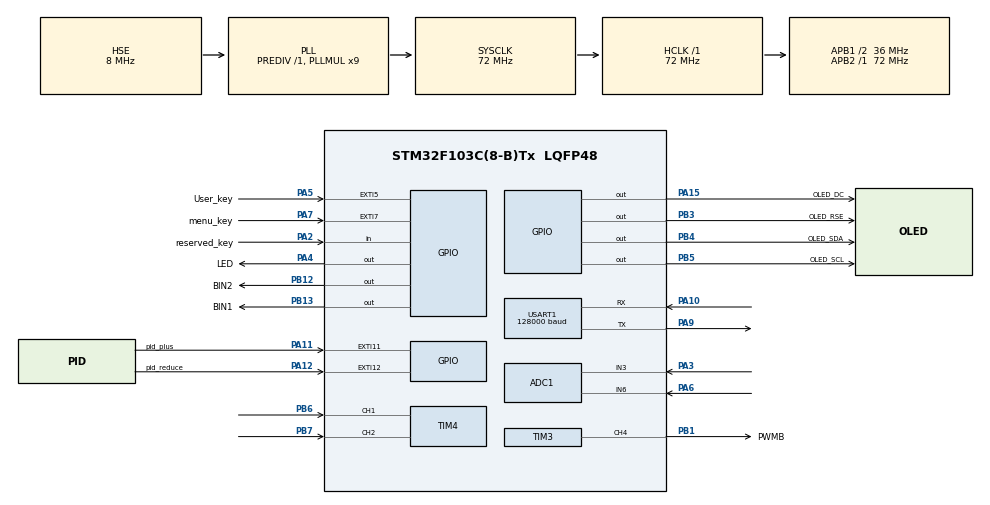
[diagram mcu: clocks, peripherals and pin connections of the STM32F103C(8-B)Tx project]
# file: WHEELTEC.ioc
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ADC1.Channel-2\#ChannelRegularConversion=ADC_CHANNEL_3
ADC1.ContinuousConvMode=DISABLE
ADC1.EnableRegularConversion=ENABLE
ADC1.NbrOfConversion=1
ADC1.NbrOfConversionFlag=1
ADC1.Rank-2\#ChannelRegularConversion=1
ADC1.SamplingTime-2\#ChannelRegularConversion=ADC_SAMPLETIME_1CYCLE_5
ADC1.master=1
Mcu.Family=STM32F1
Mcu.Name=STM32F103C(8-B)Tx
Mcu.Package=LQFP48
NVIC.EXTI15_10_IRQn=true\:2\:2\:true\:false\:true\:true\:true\:true
NVIC.EXTI9_5_IRQn=true\:2\:2\:true\:false\:true\:true\:true\:true
NVIC.PriorityGroup=NVIC_PRIORITYGROUP_2
NVIC.TIM1_UP_IRQn=true\:1\:3\:true\:false\:true\:true\:true\:true
PA10.Mode=Asynchronous
PA10.Signal=USART1_RX
PA11.GPIO_Label=pid_plus
PA11.GPIO_ModeDefaultEXTI=GPIO_MODE_IT_FALLING
PA11.GPIO_PuPd=GPIO_PULLUP
PA11.Signal=GPXTI11
PA12.GPIO_Label=pid_reduce
PA12.GPIO_ModeDefaultEXTI=GPIO_MODE_IT_FALLING
PA12.GPIO_PuPd=GPIO_PULLUP
PA12.Signal=GPXTI12
PA13.Mode=Serial_Wire
PA13.Signal=SYS_JTMS-SWDIO
PA14.Mode=Serial_Wire
PA14.Signal=SYS_JTCK-SWCLK
PA15.GPIO_Label=OLED_DC
PA15.GPIO_Speed=GPIO_SPEED_FREQ_HIGH
PA15.Signal=GPIO_Output
PA2.GPIO_Label=reserved_key
PA2.GPIO_Mode=GPIO_MODE_INPUT
PA2.GPIO_PuPd=GPIO_PULLUP
PA2.Signal=GPIO_Input
PA3.Signal=ADCx_IN3
PA4.GPIO_Label=LED
PA4.GPIO_ModeDefaultOutputPP=GPIO_MODE_OUTPUT_PP
PA4.GPIO_PuPd=GPIO_PULLUP
PA4.GPIO_Speed=GPIO_SPEED_FREQ_HIGH
PA4.PinState=GPIO_PIN_SET
PA4.Signal=GPIO_Output
PA5.GPIO_Label=User_key
PA5.GPIO_ModeDefaultEXTI=GPIO_MODE_IT_FALLING
PA5.GPIO_PuPd=GPIO_PULLUP
PA5.Signal=GPXTI5
PA6.Signal=ADCx_IN6
PA7.GPIO_Label=menu_key
PA7.GPIO_ModeDefaultEXTI=GPIO_MODE_IT_FALLING
PA7.GPIO_PuPd=GPIO_PULLUP
PA7.Signal=GPXTI7
PA9.Mode=Asynchronous
PA9.Signal=USART1_TX
PB1.GPIO_Label=PWMB
PB1.GPIO_Speed=GPIO_SPEED_FREQ_HIGH
PB1.Signal=S_TIM3_CH4
PB12.GPIO_Label=BIN2
PB12.GPIO_Speed=GPIO_SPEED_FREQ_HIGH
PB12.Signal=GPIO_Output
PB13.GPIO_Label=BIN1
PB13.GPIO_Speed=GPIO_SPEED_FREQ_HIGH
PB13.Signal=GPIO_Output
PB3.GPIO_Label=OLED_RSE
PB3.GPIO_Speed=GPIO_SPEED_FREQ_HIGH
PB3.Signal=GPIO_Output
PB4.GPIO_Label=OLED_SDA
PB4.GPIO_Speed=GPIO_SPEED_FREQ_HIGH
PB4.Signal=GPIO_Output
PB5.GPIO_Label=OLED_SCL
PB5.Signal=GPIO_Output
PB6.Signal=S_TIM4_CH1
PB7.Signal=S_TIM4_CH2
PD0-OSC_IN.Mode=HSE-External-Oscillator
PD0-OSC_IN.Signal=RCC_OSC_IN
PD1-OSC_OUT.Mode=HSE-External-Oscillator
PD1-OSC_OUT.Signal=RCC_OSC_OUT
ProjectManager.HeapSize=0x200
ProjectManager.StackSize=0x400
ProjectManager.TargetToolchain=MDK-ARM V5.32
RCC.ADCPresc=RCC_ADCPCLK2_DIV6
RCC.AHBFreq_Value=72000000
RCC.APB1CLKDivider=RCC_HCLK_DIV2
RCC.APB1Freq_Value=36000000
RCC.APB1TimFreq_Value=72000000
RCC.APB2Freq_Value=72000000
RCC.APB2TimFreq_Value=72000000
RCC.HCLKFreq_Value=72000000
RCC.PLLMUL=RCC_PLL_MUL9
RCC.PLLSourceVirtual=RCC_PLLSOURCE_HSE
RCC.SYSCLKFreq_VALUE=72000000
RCC.SYSCLKSource=RCC_SYSCLKSOURCE_PLLCLK
RCC.TimSys_Div=SYSTICK_CLKSOURCE_HCLK_DIV8
RCC.USBFreq_Value=72000000
SH.ADCx_IN3.0=ADC1_IN3,IN3
SH.ADCx_IN6.0=ADC1_IN6,IN6
SH.S_TIM3_CH4.0=TIM3_CH4,PWM Generation4 CH4
SH.S_TIM4_CH1.0=TIM4_CH1,Encoder_Interface
SH.S_TIM4_CH2.0=TIM4_CH2,Encoder_Interface
TIM1.Period=49
TIM1.Prescaler=7199
TIM3.Channel-PWM\ Generation4\ CH4=TIM_CHANNEL_4
TIM3.Period=7199
TIM4.EncoderMode=TIM_ENCODERMODE_TI12
TIM4.IC1Filter=10
TIM4.IC2Filter=10
USART1.BaudRate=128000
USART1.VirtualMode=VM_ASYNC
VP_TIM1_VS_ClockSourceINT.Mode=Internal
VP_TIM3_VS_ClockSourceINT.Mode=Internal
board=custom

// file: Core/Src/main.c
/* USER CODE BEGIN Header */
/**
  ******************************************************************************
  * @file           : main.c
  * @brief          : Main program body
  ******************************************************************************
  * @attention
  *
  * <h2><center>&copy; Copyright (c) 2021 STMicroelectronics.
  * All rights reserved.</center></h2>
  *
  * This software component is licensed by ST under BSD 3-Clause license,
  * the "License"; You may not use this file except in compliance with the
  * License. You may obtain a copy of the License at:
  *                        opensource.org/licenses/BSD-3-Clause
  *
  ******************************************************************************
  */
/* USER CODE END Header */
#include "main.h"
#include "adc.h"
#include "tim.h"
#include "usart.h"
#include "gpio.h"

#include <stdint.h> // uint8_t ....
#include <stdio.h>  // sprintf()
#include <string.h> // tratamento de string

/* USER CODE BEGIN PV */
u8 Flag_Stop=1;                             //Sinalizador de parada do motor
volatile u8 delay_50,delay_flag;            // 50ms Demonstracao precisa da posicao da marca
u8 system_start=0;                          //Detectar bit de sinalizador de funcao de ajuste
u8 tips_flag = 0;                           //OLED Bit de sinalizador de funcao de dica
int Encoder,Position_Zero=10000;            //Contagem de pulsos do codificador
int Moto;                                   //Variavel Motor PWM deve ser atribuida do Motor a Moto
int Voltage;                                //Variaveis  relacionadas a amostragem de tensao da bateria
float Angle_Balance;                        //Dados do sensor de deslocamento angular
float Balance_KP=50,Balance_KD=244,Position_KP=25,Position_KD=600;  //Coeficiente PID
float Position_KP_1=90,Position_KD_1=180;  //Coeficiente PID
float Menu=1,Amplitude1=1,Amplitude2=10,Amplitude3=1,Amplitude4=10; //Parametros relacionados a depuracao PID

unsigned char DataAngle_Balance[10] = {0}; //variavel serial adicionada
/* USER CODE END PV */

void SystemClock_Config(void);
/* USER CODE BEGIN PFP */
void JTAG_Set(u8 mode);
/* USER CODE END PFP */

int main(void)
{

  /* MCU Configuration--------------------------------------------------------*/

  /* Reset of all peripherals, Initializes the Flash interface and the Systick. */
  HAL_Init();

  /* Configure the system clock */
  SystemClock_Config();

  /* USER CODE BEGIN SysInit */
  JTAG_Set(JTAG_SWD_DISABLE);                     //Desligue a interface JTAG para ligar o display OLED
	JTAG_Set(SWD_ENABLE);                           //Habilitar interface de depuracao SWD
	HAL_Delay(1000);                 //=====Atrase a inicializacao e aguarde a estabilidade do sistema
	HAL_Delay(1000);                 //=====Inicio atrasado, aguardando a estabilizacao do sistema, um total de 2s
  /* USER CODE END SysInit */

  /* Initialize all configured peripherals */
  MX_GPIO_Init();
  MX_TIM3_Init();
  MX_TIM4_Init();
  MX_USART1_UART_Init();
  MX_ADC1_Init();
  MX_TIM1_Init();
  /* USER CODE BEGIN 2 */
  OLED_Init();
  /* USER CODE END 2 */

  /* Infinite loop */
  while (1)
  {

    /* USER CODE BEGIN 3 */
		DataScope();	            //===Computador host
		Tips();                   //===Display OLED e avisos
		delay_flag=1;	            //===Sinalizador de atraso de precisao de interrupcao de 50ms
		while(delay_flag);        //===50ms interromper atraso preciso
															//A principal razao e que o computador host de exibicao de forma de onda requer um ciclo de transmissao estrito de 50 ms.

		sprintf((char *)DataAngle_Balance,"%f\r",Angle_Balance);
		HAL_UART_Transmit(&huart1,DataAngle_Balance,strlen((const char *)DataAngle_Balance),50);
  }
  /* USER CODE END 3 */
}

void SystemClock_Config(void)
{
  RCC_OscInitTypeDef RCC_OscInitStruct = {0};
  RCC_ClkInitTypeDef RCC_ClkInitStruct = {0};
  RCC_PeriphCLKInitTypeDef PeriphClkInit = {0};

  /** Initializes the RCC Oscillators according to the specified parameters
  * in the RCC_OscInitTypeDef structure.
  */
  RCC_OscInitStruct.OscillatorType = RCC_OSCILLATORTYPE_HSE;
  RCC_OscInitStruct.HSEState = RCC_HSE_ON;
  RCC_OscInitStruct.HSEPredivValue = RCC_HSE_PREDIV_DIV1;
  RCC_OscInitStruct.HSIState = RCC_HSI_ON;
  RCC_OscInitStruct.PLL.PLLState = RCC_PLL_ON;
  RCC_OscInitStruct.PLL.PLLSource = RCC_PLLSOURCE_HSE;
  RCC_OscInitStruct.PLL.PLLMUL = RCC_PLL_MUL9;
  if (HAL_RCC_OscConfig(&RCC_OscInitStruct) != HAL_OK)
  {
    Error_Handler();
  }
  /** Initializes the CPU, AHB and APB buses clocks
  */
  RCC_ClkInitStruct.ClockType = RCC_CLOCKTYPE_HCLK|RCC_CLOCKTYPE_SYSCLK
                              |RCC_CLOCKTYPE_PCLK1|RCC_CLOCKTYPE_PCLK2;
  RCC_ClkInitStruct.SYSCLKSource = RCC_SYSCLKSOURCE_PLLCLK;
  RCC_ClkInitStruct.AHBCLKDivider = RCC_SYSCLK_DIV1;
  RCC_ClkInitStruct.APB1CLKDivider = RCC_HCLK_DIV2;
  RCC_ClkInitStruct.APB2CLKDivider = RCC_HCLK_DIV1;

  if (HAL_RCC_ClockConfig(&RCC_ClkInitStruct, FLASH_LATENCY_2) != HAL_OK)
  {
    Error_Handler();
  }
  PeriphClkInit.PeriphClockSelection = RCC_PERIPHCLK_ADC;
  PeriphClkInit.AdcClockSelection = RCC_ADCPCLK2_DIV6;
  if (HAL_RCCEx_PeriphCLKConfig(&PeriphClkInit) != HAL_OK)
  {
    Error_Handler();
  }
}

/* USER CODE BEGIN 4 */
/**************************************************************************
Function: Set JTAG mode
Input   : mode:JTAG, swd mode settings��00��all enable��01��enable SWD��10��Full shutdown
Output  : none
Funcao: Definir modo JTAG
Parametros de entrada: mode:jtag, configuracao do modo swd; 00, totalmente habilitado; 01, SWD habilitado; 10, totalmente desabilitado;
Valor de retorno: Nenhum
**************************************************************************/
//#define JTAG_SWD_DISABLE   0X02
//#define SWD_ENABLE         0X01
//#define JTAG_SWD_ENABLE    0X00
void JTAG_Set(u8 mode)
{
	u32 temp;
	temp=mode;
	temp<<=25;
	RCC->APB2ENR|=1<<0;     //Turn on the auxiliary clock //Ativar clock auxiliar
	AFIO->MAPR&=0XF8FFFFFF; //Clear MAPR [26:24] //Limpar MAPRs [26:24]
	AFIO->MAPR|=temp;       //Set the JTAG mode //Definir modo jtag
}
/* USER CODE END 4 */

void Error_Handler(void)
{
  __disable_irq();
  while (1)
  {
  }
}

/************************ (C) COPYRIGHT STMicroelectronics *****END OF FILE****/
